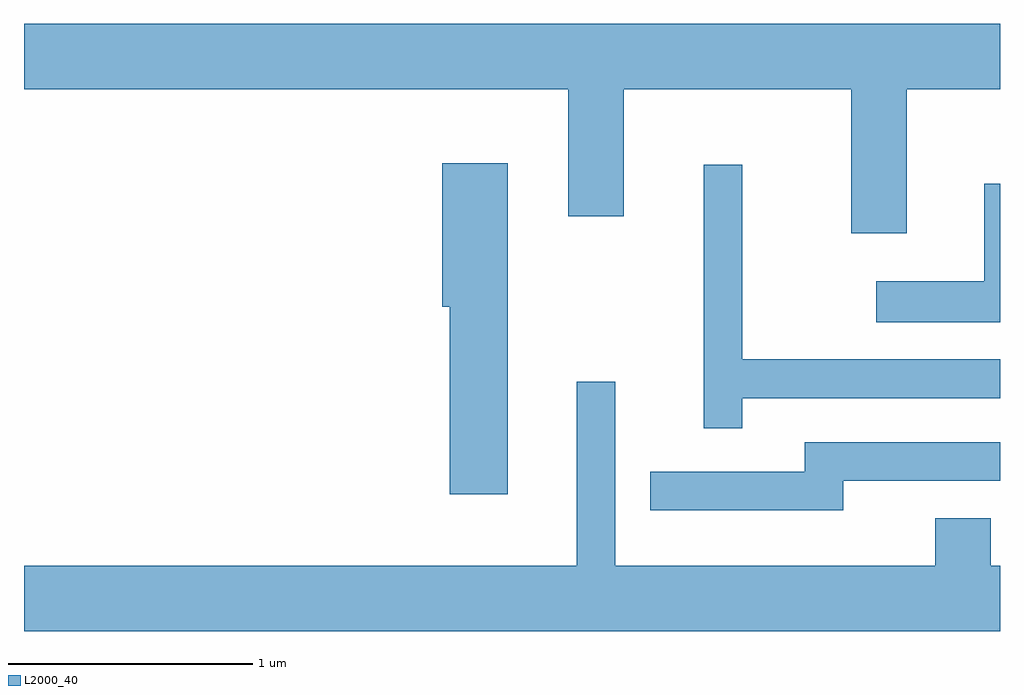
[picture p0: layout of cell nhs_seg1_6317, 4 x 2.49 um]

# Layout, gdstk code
import gdstk
lib = gdstk.Library(unit=1e-6, precision=1e-09)
def P(c, l, *ps):  # polygons
    for p in ps: c.add(gdstk.Polygon(p, *l))
L2000_40 = (2000, 40)

nhs_seg1_6317 = lib.new_cell('nhs_seg1_6317')
P(nhs_seg1_6317, L2000_40, [(379.229,904.016),(379.611,904.016),(379.611,904.284),(375.611,904.284),(375.611,904.016),(377.841,904.016),(377.841,903.496),(378.069,903.496),(378.069,904.016),(379.001,904.016),(379.001,903.426),(379.229,903.426)],
  [(377.594,903.714),(377.326,903.714),(377.326,903.126),(377.356,903.126),(377.356,902.356),(377.594,902.356)],
  [(378.554,902.751),(379.611,902.751),(379.611,902.909),(378.554,902.909),(378.554,903.708),(378.396,903.708),(378.396,902.628),(378.554,902.628)],
  [(379.611,903.629),(379.546,903.629),(379.546,903.229),(379.103,903.229),(379.103,903.061),(379.611,903.061)],
  [(379.611,902.064),(379.574,902.064),(379.574,902.259),(379.346,902.259),(379.346,902.064),(378.034,902.064),(378.034,902.818),(377.876,902.818),(377.876,902.064),(375.611,902.064),(375.611,901.796),(379.611,901.796)],
  [(378.969,902.411),(379.611,902.411),(379.611,902.569),(378.811,902.569),(378.811,902.449),(378.178,902.449),(378.178,902.291),(378.969,902.291)])

lib.write_gds('nhs_seg1_6317.gds')
